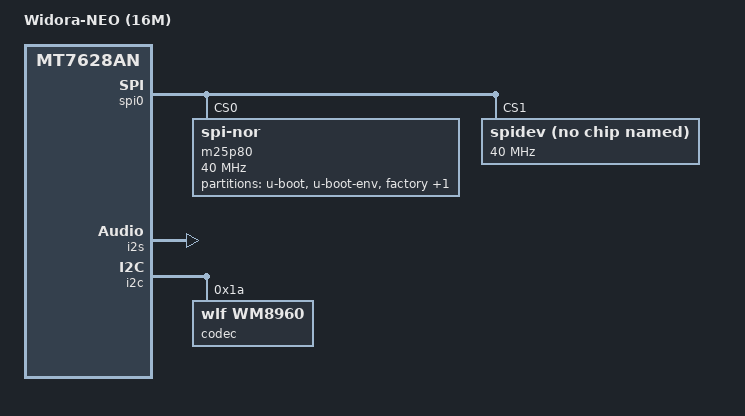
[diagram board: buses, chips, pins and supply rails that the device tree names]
/dts-v1/;

#include "mt7628an_widora_neo.dtsi"

/ {
	compatible = "widora,neo-16m", "widora,neo", "mediatek,mt7628an-soc";
	model = "Widora-NEO (16M)";
};

&spi0 {
	status = "okay";

	pinctrl-names = "default";
	pinctrl-0 = <&spi_pins>, <&spi_cs1_pins>;

	m25p80@0 {
		compatible = "jedec,spi-nor";
		reg = <0>;
		spi-max-frequency = <40000000>;

		partitions {
			compatible = "fixed-partitions";
			#address-cells = <1>;
			#size-cells = <1>;

			partition@0 {
				label = "u-boot";
				reg = <0x0 0x30000>;
				read-only;
			};

			partition@30000 {
				label = "u-boot-env";
				reg = <0x30000 0x10000>;
			};

			factory: partition@40000 {
				label = "factory";
				reg = <0x40000 0x10000>;
				read-only;
			};

			partition@50000 {
				compatible = "denx,uimage";
				label = "firmware";
				reg = <0x50000 0x0fb0000>;
			};
		};
	};

	spidev@1 {
		#address-cells = <1>;
		#size-cells = <1>;
		compatible = "linux,spidev";
		reg = <1>;
		spi-max-frequency = <40000000>;
	};
};

&pinctrl {
	state_default: pinctrl0 {
		i2s {
			ralink,group = "i2s";
			ralink,function = "i2s";
		};

		refclk {
			ralink,group = "refclk";
			ralink,function = "refclk";
		};
	};
};

&i2s {
	status = "okay";
};

&gdma {
	status = "okay";
};

&i2c {
	status = "okay";

	codec: wm8960@1a {
		compatible = "wlf,wm8960";
		reg = <0x1a>;
		wlf,shared-lrclk;
		wlf,adclrc-gpio;
	};
};

/ {
	sound {
		compatible = "mediatek,mt76x8-wm8960-machine";
		mediatek,platform = <&i2s>;
		mediatek,audio-codec = <&codec>;
		audio-routing =
			"Headphone", "HP_L",
			"Headphone", "HP_R",
			"Ext Spk", "SPK_LN",
			"Ext Spk", "SPK_LP",
			"Ext Spk", "SPK_RN",
			"Ext Spk", "SPK_RP",
			"Mic", "MICB",
			"LINPUT1", "Mic",
			"RINPUT1", "Mic";
	};
};
